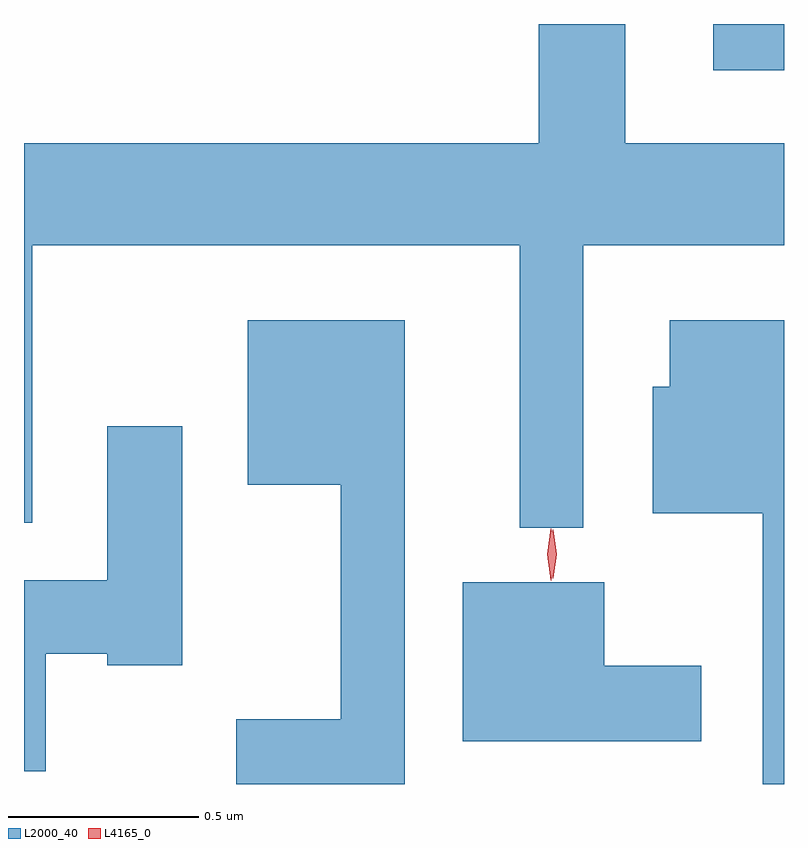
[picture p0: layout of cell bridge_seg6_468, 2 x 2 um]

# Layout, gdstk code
import gdstk
lib = gdstk.Library(unit=1e-6, precision=1e-09)
def R(c, l, rs):  # rectangles x0, y0, x1, y1
    for r in rs: c.add(gdstk.rectangle(r[:2], r[2:], *l))
def P(c, l, *ps):  # polygons
    for p in ps: c.add(gdstk.Polygon(p, *l))
L2000_40 = (2000, 40)
L4165_0 = (4165, 0)

bridge_seg6_468 = lib.new_cell('bridge_seg6_468')
R(bridge_seg6_468, L2000_40, [(828.871,1608.216,829.057,1608.338)])
P(bridge_seg6_468, L2000_40, [(828.529,1607.756),(829.057,1607.756),(829.057,1608.024),(828.639,1608.024),(828.639,1608.338),(828.411,1608.338),(828.411,1608.024),(827.057,1608.024),(827.057,1607.026),(827.079,1607.026),(827.079,1607.756),(828.361,1607.756),(828.361,1607.013),(828.529,1607.013)],
  [(828.059,1607.559),(827.646,1607.559),(827.646,1607.126),(827.891,1607.126),(827.891,1606.509),(827.616,1606.509),(827.616,1606.338),(828.059,1606.338)],
  [(829.057,1607.559),(828.756,1607.559),(828.756,1607.384),(828.711,1607.384),(828.711,1607.051),(829.001,1607.051),(829.001,1606.338),(829.057,1606.338)],
  [(827.114,1606.681),(827.276,1606.681),(827.276,1606.651),(827.474,1606.651),(827.474,1607.279),(827.276,1607.279),(827.276,1606.874),(827.057,1606.874),(827.057,1606.371),(827.114,1606.371)],
  [(828.839,1606.649),(828.584,1606.649),(828.584,1606.869),(828.211,1606.869),(828.211,1606.451),(828.839,1606.451)])
P(bridge_seg6_468, L4165_0, [(828.448,1606.879),(828.439,1606.943),(828.448,1607.007),(828.449,1607.007),(828.45,1607.007),(828.459,1606.943),(828.45,1606.879),(828.449,1606.879)],
  [(828.444,1606.873),(828.443,1606.874),(828.434,1606.942),(828.443,1607.01),(828.444,1607.01),(828.444,1607.01),(828.454,1606.942),(828.444,1606.874)])

lib.write_gds('bridge_seg6_468.gds')
